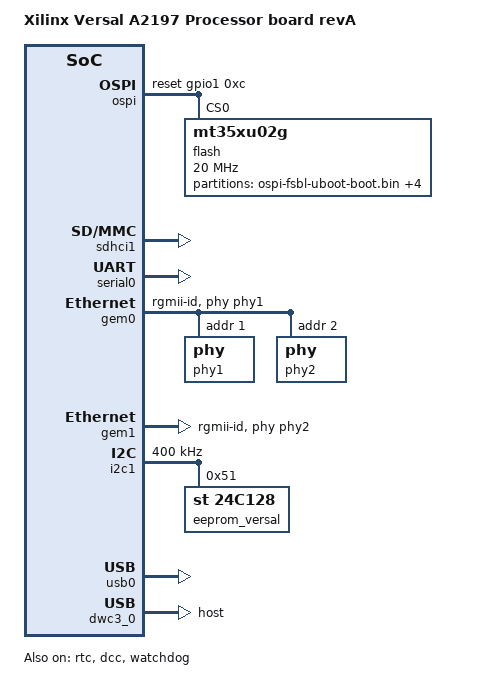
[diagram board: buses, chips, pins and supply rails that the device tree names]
// SPDX-License-Identifier: GPL-2.0
/*
 * dts file for Xilinx Versal X-PRC-01 revA (SE1)
 *
 * (C) Copyright 2019-2022 Xilinx, Inc.
 * (C) Copyright 2022 Advanced Micro Devices, Inc. All Rights Reserved.
 *
 * Michal Simek <michal.simek@xilinx.com>
 */

#include "include/dt-bindings/gpio/gpio.h"

/ {
        compatible = "xlnx,versal-vc-p-a2197-00-revA",
                     "xlnx,versal-vc-p-a2197-00",
                     "xlnx,versal-vc-p-a2197", "xlnx,versal";
        model = "Xilinx Versal A2197 Processor board revA";

	chosen {
		bootargs = "console=ttyAMA0 earlycon=pl011,mmio32,0xFF000000,115200n8 clk_ignore_unused";
		stdout-path = "serial0:115200";
	};

	aliases {
		serial0 = &serial0;
		ethernet0 = &gem0;
		ethernet1 = &gem1;
		i2c0 = &i2c1;
		mmc0 = &sdhci1;
		spi0 = &ospi;
		usb0 = &usb0;
		rtc0 = &rtc;
	};

};

&rtc {
        status = "okay";
};

&gpio0 {
	status = "okay";
};

&gpio1 {
	status = "okay";
};

&dcc {
        status = "okay";
};

&watchdog {
        status = "okay";
};

&qspi {
        status = "disabled"; /* u93 and u92 */
};

&ospi {
	status = "okay";
	compatible = "xlnx,versal-ospi-1.0", "cadence,qspi", "cdns,qspi-nor";
	bus-num = <2>;
	num-cs = <1>;
	#stream-id-cells = <1>;
	#address-cells = <1>;
	#size-cells = <0>;
	reset-gpios = <&gpio1 0xc GPIO_ACTIVE_HIGH>;

	flash@0 {
		compatible = "mt35xu02g", "micron,m25p80", "spi-flash";
		reg = <0>;
		#address-cells = <0x1>;
		#size-cells = <0x1>;
		cdns,read-delay = <0x0>;
		cdns,tshsl-ns = <0x0>;
		cdns,tsd2d-ns = <0x0>;
		cdns,tchsh-ns = <0x1>;
		cdns,tslch-ns = <0x1>;
		spi-tx-bus-width = <1>;
		spi-rx-bus-width = <8>;
		spi-max-frequency = <20000000>;
		partition@0 { /* for testing purpose */
			label = "ospi-fsbl-uboot-boot.bin";
			reg = <0x0 0x6400000>;
		};
		partition@6400000 { /* for testing purpose */
			label = "ospi-linux";
			reg = <0x6400000 0x500000>;
		};
		partition@6900000 { /* for testing purpose */
			label = "ospi-device-tree";
			reg = <0x6900000 0x20000>;
		};
		partition@6920000 { /* for testing purpose */
			label = "ospi-rootfs";
			reg = <0x6920000 0xa00000>;
		};
		partition@7f40000 {
			label = "ospi-bootenv";
			reg = <0x7f40000 0x40000>;
		};
	};
};

&sdhci1 { /* U104 */
	status = "okay";
	xlnx,mio_bank = <1>;
	no-1-8-v;
};

&serial0 {
        status = "okay";
};

&gem0 {
	status = "okay";
	phy-handle = <&phy1>; /* u128 */
	phy-mode = "rgmii-id";
	phy1: phy@1 {
		reg = <1>;
		ti,rx-internal-delay = <0xb>;
		ti,tx-internal-delay = <0xa>;
		ti,fifo-depth = <1>;
		ti,dp83867-rxctrl-strap-quirk; /* FIXME - Remove if board is fixed */
	};
	phy2: phy@2 {
		reg = <2>;
		ti,rx-internal-delay = <0xb>;
		ti,tx-internal-delay = <0xa>;
		ti,fifo-depth = <1>;
		ti,dp83867-rxctrl-strap-quirk; /* FIXME -  Remove if board is fixed */
	};
};

&gem1 {
	status = "okay";
	phy-handle = <&phy2>; /* u134 */
	phy-mode = "rgmii-id";
};

&i2c1 {
	status = "okay";
	clock-frequency = <400000>;
	eeprom_versal: eeprom@51 { /* U116 */
		compatible = "st,24c128", "atmel,24c128";
		reg = <0x51>;
	};

	/* FIXME - U117 and U118 */
};

&usb0 {
	status = "okay";
	xlnx,usb-polarity = <0x0>;
	xlnx,usb-reset-mode = <0x0>;
};

&dwc3_0 { /* USB 2.0 host - U99 */
	status = "okay";
	dr_mode = "host";
	maximum-speed = "high-speed";
	snps,dis_u2_susphy_quirk;
	snps,dis_u3_susphy_quirk;
	snps,usb3_lpm_capable;
	phy-names = "usb3-phy";
};
